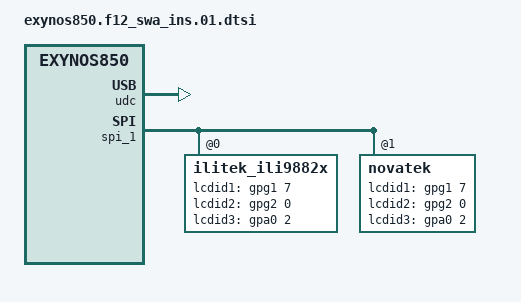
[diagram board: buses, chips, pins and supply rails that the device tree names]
/*
 * SAMSUNG EXYNOS850 board device tree source
 *
 * Copyright (c) 2018 Samsung Electronics Co., Ltd.
 *		http://www.samsung.com
 *
 * This program is free software; you can redistribute it and/or modify
 * it under the terms of the GNU General Public License version 2 as
 * published by the Free Software Foundation.
*/

//#include "exynos3830-erd3830-cp-s318ap-sit.dtsi"
#include "../exynos_gpio_config_macros.dtsi"
#include "exynos850-f12_common.dtsi"
#include "camera_f12_00-exynos3830.dtsi"


&panel_0 {
    /* reset, power */
    gpios = <&gpg2 4 0x1>;
};

&udc {
	status = "okay";
};

&pinctrl_0 {
	tsp_id3_on: tsp-id3-on {
		samsung,pins = "gpa0-2";
		samsung,pin-function = <0>;
		samsung,pin-pud = <0>;
	};
	tsp_id3_off: tsp-id3-off {
		samsung,pins = "gpa0-2";
		samsung,pin-function = <0>;
		samsung,pin-pud = <1>;
	};
};

&spi_1 {
	ilitek_ili9882x@0 {
		pinctrl-names = "default", "pins_on_state", "pins_off_state";
		pinctrl-0 = <&tsp_id_on &tsp_id3_on &intr_on &spi1_bus &spi1_cs &tsp_rst_on>;
		pinctrl-1 = <&tsp_id_on &tsp_id3_on &intr_on &spi1_bus &spi1_cs &tsp_rst_on>;
		pinctrl-2 = <&tsp_id_off &tsp_id3_off &intr_off &spi1_sleep &tsp_rst_off>;
		iliteck,lcdid1-gpio = <&gpg1 7 0x0>;
		iliteck,lcdid2-gpio = <&gpg2 0 0x0>;
		iliteck,lcdid3-gpio = <&gpa0 2 0x0>;
		iliteck,lcdid = <0 4>;
		iliteck,lcdtype = <0x0a7250 0 0 0 0xaa7250>;
		iliteck,fw_name = "tsp_ilitek/ili9881x_m12s.hex", "", "", "", "tsp_ilitek/ili7806s_m12s.hex";
	};

	/* Novatek device tree node */
	novatek@1 {
		pinctrl-names = "default", "on_state", "off_state";
		pinctrl-0 = <&tsp_id_on &tsp_id3_on &intr_on &spi1_bus &spi1_cs &tsp_rst_on>;
		pinctrl-1 = <&tsp_id_on &tsp_id3_on &intr_on &spi1_bus &spi1_cs &tsp_rst_on>;
		pinctrl-2 = <&tsp_id_off &tsp_id3_off &intr_off &spi1_sleep &tsp_rst_off>;
		novatek,lcdid1-gpio = <&gpg1 7 0x0>;
		novatek,lcdid2-gpio = <&gpg2 0 0x0>;
		novatek,lcdid3-gpio = <&gpa0 2 0x0>;
		novatek,lcdid = <1 2 5>;	// CSOT, DTC, LTPS
		novatek,resume_lp_delay = <0 15 15 0 0 32>;	// CSOT, DTC, LTPS
		novatek,lcdtype = <0 0x0aa240 0x0a1240 0 0 0x1aF240>;
		novatek,fw_name = "", "tsp_novatek/nt36525_m12s_csot.bin", "tsp_novatek/nt36525_m12s_dtc.bin", "", "", "tsp_novatek/nt36675_m12s_ltps.bin";
		novatek,fw_name_mp = "", "tsp_novatek/nt36525_m12s_mp_csot.bin", "tsp_novatek/nt36525_m12s_mp_dtc.bin", "", "", "tsp_novatek/nt36675_m12s_mp_ltps.bin";

		/* nt36675_m12s_ltps */
		novatek-mp-criteria-721D@2 {
			#address-cells = <1>;
			#size-cells = <0>;
			compatible = "novatek-mp-criteria-721D";

			/* sec cmd test config */
			open_test_spec = <(-511) 5120>;
			short_test_spec = <10000 14008>;
			diff_test_frame = <50>;
			fdm_x_num = <2>;
		};
	};
};

/* ----------------------------------------------------------------------------
 * Configurations for GPIOs without Device Driver
 * Note: Do NOT add pins using by device drivers to the configuration below
 * ----------------------------------------------------------------------------
 */
/*
 * pin banks of exynos980 pin-controller 0 (ALIVE) : pinctrl@11850000
 * GPA0, GPA1, GPA2, GPA3, GPA4
 * GPQ0
 * NOTE: GPA, GPQ and GPM are in ALIVE region. DO NOT add SLEEP gpio config.
 */
/*
&pinctrl_0 {
	pinctrl-names = "default";
	pinctrl-0 = <&initial0>;
	initial0: initial-state {
	};
};
*/

/*
 * pin banks of exynos980 pin-controller 1 (CMGP) : pinctrl@11C30000
 * GPM0 ~ GPM7
 * NOTE: GPA, GPQ and GPM are in ALIVE region. DO NOT add SLEEP gpio config.
 */
/*
&pinctrl_1 {
	pinctrl-names = "default";
	pinctrl-0 = <&initial1>;
	initial1: initial-state {
	};
};
*/

/*
 * pin banks of exynos980 pin-controller 2 (AUD) : pinctrl@14A60000
 * GPB0, GPB1
 */
/*
&pinctrl_2 {
	pinctrl-names = "default";
	pinctrl-0 = <&initial2>;
	initial2: initial-state {
	};
};
*/

/*
 * pin banks of exynos980 pin-controller 3 (HSI) : pinctrl@13430000
 * GPF2
 */
/*
&pinctrl_3 {
	pinctrl-names = "default";
	pinctrl-0 = <&initial3>;
	initial3: initial-state {
	};
};
*/

/*
 * pin banks of exynos980 pin-controller 4 (CORE) : pinctrl@12070000
 * GPF0, GPF1
 */
/*
&pinctrl_4 {
	pinctrl-names = "default";
	pinctrl-0 = <&initial4>;
	initial4: initial-state {
	};
};
*/

/*
 * pin banks of exynos980 pin-controller 5 (PERI) : pinctrl@139B0000
 * GPP0, GPP1, GPP2
 * GPG0, GPG1, GPG2, GPG3
 * GPC0, GPC1
 */
&pinctrl_5 {
	pinctrl-names = "default";
	pinctrl-0 = <&initial5>;
	initial5: initial-state {
#ifndef CONFIG_SEC_FACTORY
		PIN_IN_SLP(gpg0-1, NONE, INPUT, NONE);		/* SUB_DET */
#endif
		PIN_SLP(gpp0-0, INPUT, NONE);		/* FG/IF_PMIC_SDA_1P8 */
		PIN_SLP(gpp0-1, INPUT, NONE);		/* FG/IF_PMIC_SCL_1P8 */
	};
};

/* add cable_det_lb_mb */
#if 0
&cpif {
	pinctrl-0 = <&rffe1_clk &rffe1_data>, <&b12_13_sel>,
	<&drx_mlb_sel &drx_lna_en_b7>, <&cable_det_lb_mb>;
};
#endif
